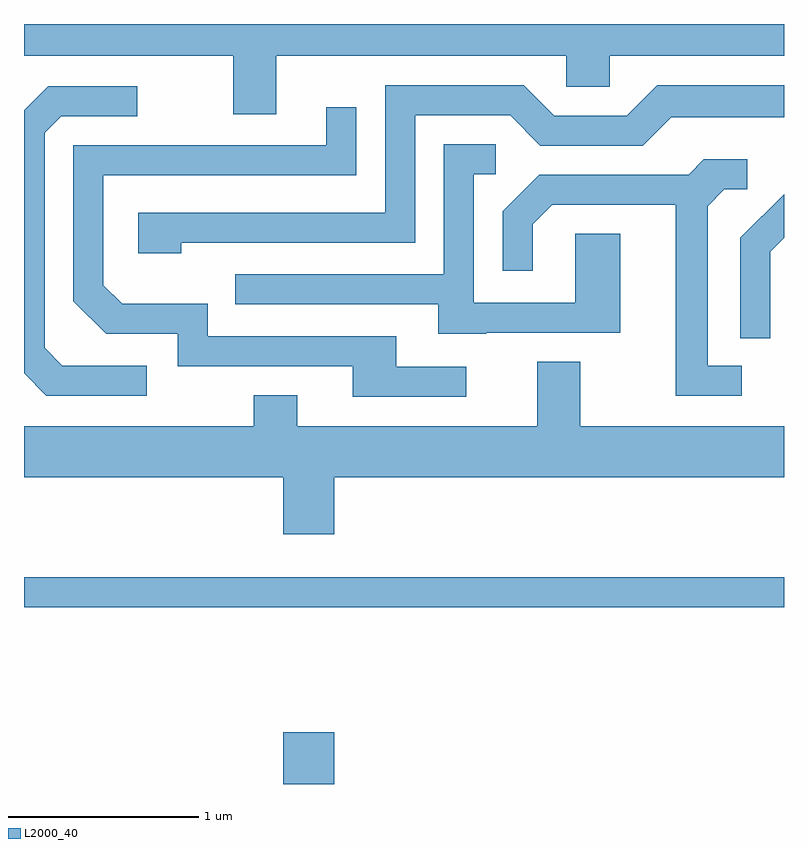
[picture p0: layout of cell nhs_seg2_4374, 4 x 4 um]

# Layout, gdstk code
import gdstk
lib = gdstk.Library(unit=1e-6, precision=1e-09)
def R(c, l, rs):  # rectangles x0, y0, x1, y1
    for r in rs: c.add(gdstk.rectangle(r[:2], r[2:], *l))
def P(c, l, *ps):  # polygons
    for p in ps: c.add(gdstk.Polygon(p, *l))
L2000_40 = (2000, 40)

nhs_seg2_4374 = lib.new_cell('nhs_seg2_4374')
R(nhs_seg2_4374, L2000_40, [(314.976,1057.802,315.244,1058.074), (313.611,1058.731,317.611,1058.889)])
P(nhs_seg2_4374, L2000_40, [(314.939,1061.636),(316.466,1061.636),(316.466,1061.471),(316.694,1061.471),(316.694,1061.636),(317.611,1061.636),(317.611,1061.802),(313.611,1061.802),(313.611,1061.636),(314.711,1061.636),(314.711,1061.326),(314.939,1061.326)],
  [(314.439,1060.651),(315.669,1060.651),(315.669,1061.321),(316.169,1061.321),(316.329,1061.161),(316.867,1061.161),(317.017,1061.311),(317.611,1061.311),(317.611,1061.479),(316.944,1061.479),(316.784,1061.319),(316.402,1061.319),(316.242,1061.479),(315.511,1061.479),(315.511,1060.809),(314.211,1060.809),(314.211,1060.596),(314.439,1060.596)],
  [(314.258,1060.004),(313.812,1060.004),(313.719,1060.097),(313.719,1061.229),(313.807,1061.316),(314.208,1061.316),(314.208,1061.474),(313.739,1061.474),(313.611,1061.347),(313.611,1059.964),(313.729,1059.846),(314.258,1059.846)],
  [(315.938,1059.999),(315.569,1059.999),(315.569,1060.159),(314.579,1060.159),(314.579,1060.329),(314.127,1060.329),(314.029,1060.427),(314.029,1061.006),(315.359,1061.006),(315.359,1061.363),(315.201,1061.363),(315.201,1061.164),(313.871,1061.164),(313.871,1060.344),(314.044,1060.171),(314.421,1060.171),(314.421,1060.001),(315.341,1060.001),(315.341,1059.841),(315.938,1059.841)],
  [(316.045,1060.176),(316.749,1060.176),(316.749,1060.699),(316.511,1060.699),(316.511,1060.334),(315.979,1060.334),(315.979,1061.011),(316.093,1061.011),(316.093,1061.169),(315.821,1061.169),(315.821,1060.484),(314.723,1060.484),(314.723,1060.326),(315.791,1060.326),(315.791,1060.171),(316.045,1060.171)],
  [(317.388,1060.004),(317.209,1060.004),(317.209,1060.844),(317.297,1060.931),(317.418,1060.931),(317.418,1061.089),(317.189,1061.089),(317.109,1061.009),(316.324,1061.009),(316.131,1060.817),(316.131,1060.503),(316.289,1060.503),(316.289,1060.749),(316.392,1060.851),(317.041,1060.851),(317.041,1059.846),(317.388,1059.846)],
  [(317.539,1060.604),(317.611,1060.676),(317.611,1060.907),(317.381,1060.677),(317.381,1060.148),(317.539,1060.148)],
  [(315.244,1059.416),(317.611,1059.416),(317.611,1059.684),(316.539,1059.684),(316.539,1060.024),(316.311,1060.024),(316.311,1059.684),(315.049,1059.684),(315.049,1059.849),(314.821,1059.849),(314.821,1059.684),(313.611,1059.684),(313.611,1059.416),(314.976,1059.416),(314.976,1059.116),(315.244,1059.116)])

lib.write_gds('nhs_seg2_4374.gds')
